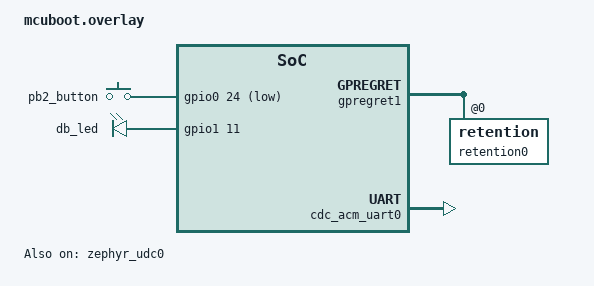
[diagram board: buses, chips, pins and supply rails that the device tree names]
/ {
	aliases {
		mcuboot-button0 = &pb2_button;
		mcuboot-led0 = &db_led;
	};

	watch_buttons {
		compatible = "gpio-keys";
		pb2_button: pb2_button {
			gpios = <&gpio0 24 (GPIO_PULL_UP | GPIO_ACTIVE_LOW)>;
		};
	};

	watch_leds {
		compatible = "gpio-leds";
		db_led: db_led {
			gpios = <&gpio1 11 GPIO_ACTIVE_HIGH>;
		};
	};

	chosen {
		zephyr,uart-mcumgr = &cdc_acm_uart0;
		zephyr,boot-mode = &retention0;
	};
};

&gpregret1 {
	status = "okay";
	#address-cells = <1>;
	#size-cells = <1>;
	retention0: retention@0 {
		compatible = "zephyr,retention";
		status = "okay";
		reg = <0x0 0x1>;
	};
};

&gpio0 {
	status = "okay";
};

&gpio1 {
	status = "okay";
};

&zephyr_udc0 {
	status = "okay";
	cdc_acm_uart0: cdc_acm_uart0 {
		compatible = "zephyr,cdc-acm-uart";
	};
};
